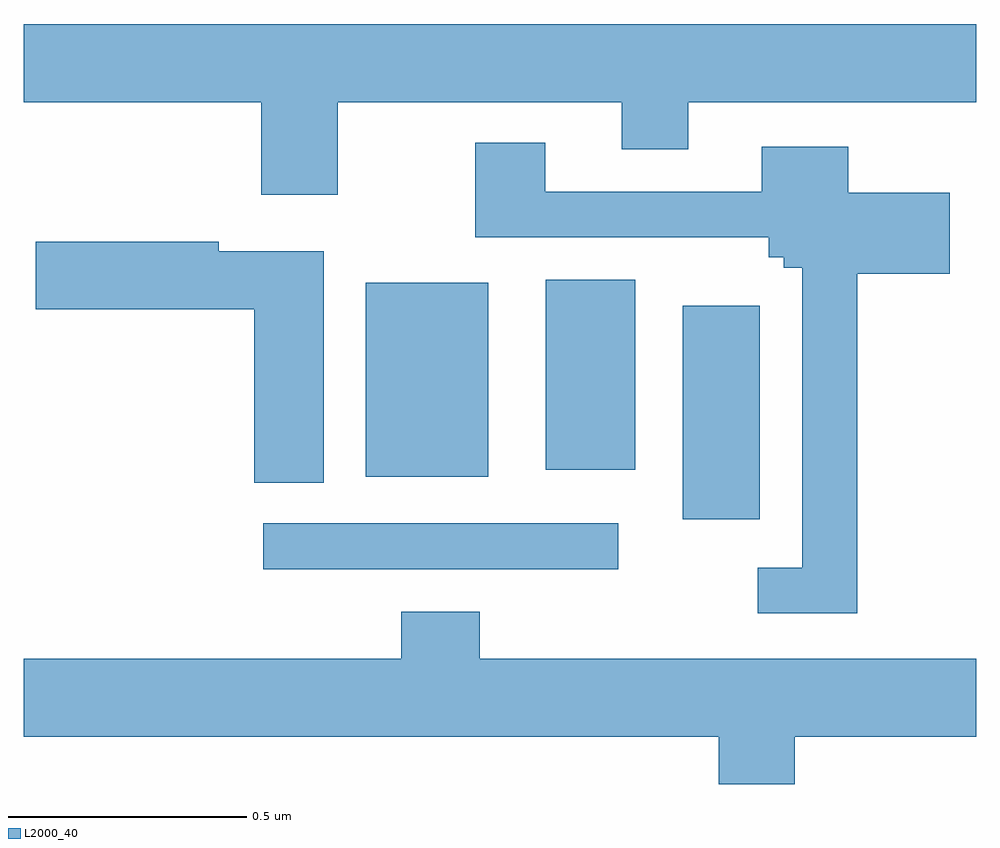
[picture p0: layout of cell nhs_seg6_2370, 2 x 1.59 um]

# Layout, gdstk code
import gdstk
lib = gdstk.Library(unit=1e-6, precision=1e-09)
def R(c, l, rs):  # rectangles x0, y0, x1, y1
    for r in rs: c.add(gdstk.rectangle(r[:2], r[2:], *l))
def P(c, l, *ps):  # polygons
    for p in ps: c.add(gdstk.Polygon(p, *l))
L2000_40 = (2000, 40)

nhs_seg6_2370 = lib.new_cell('nhs_seg6_2370')
R(nhs_seg6_2370, L2000_40, [(142.503,953.016,143.248,953.112), (143.384,953.121,143.545,953.569), (142.718,953.21,142.975,953.617), (143.096,953.225,143.284,953.623)])
P(nhs_seg6_2370, L2000_40, [(142.659,953.996),(143.255,953.996),(143.255,953.897),(143.395,953.897),(143.395,953.996),(144,953.996),(144,954.16),(142,954.16),(142,953.996),(142.499,953.996),(142.499,953.802),(142.659,953.802)],
  [(143.75,953.636),(143.944,953.636),(143.944,953.806),(143.731,953.806),(143.731,953.902),(143.549,953.902),(143.549,953.808),(143.095,953.808),(143.095,953.911),(142.948,953.911),(142.948,953.712),(143.564,953.712),(143.564,953.67),(143.595,953.67),(143.595,953.648),(143.634,953.648),(143.634,953.019),(143.541,953.019),(143.541,952.923),(143.75,952.923)],
  [(142.63,953.683),(142.41,953.683),(142.41,953.703),(142.026,953.703),(142.026,953.561),(142.484,953.561),(142.484,953.197),(142.63,953.197)],
  [(143.619,952.664),(144,952.664),(144,952.828),(142.958,952.828),(142.958,952.927),(142.793,952.927),(142.793,952.828),(142,952.828),(142,952.664),(143.459,952.664),(143.459,952.565),(143.619,952.565)])

lib.write_gds('nhs_seg6_2370.gds')
